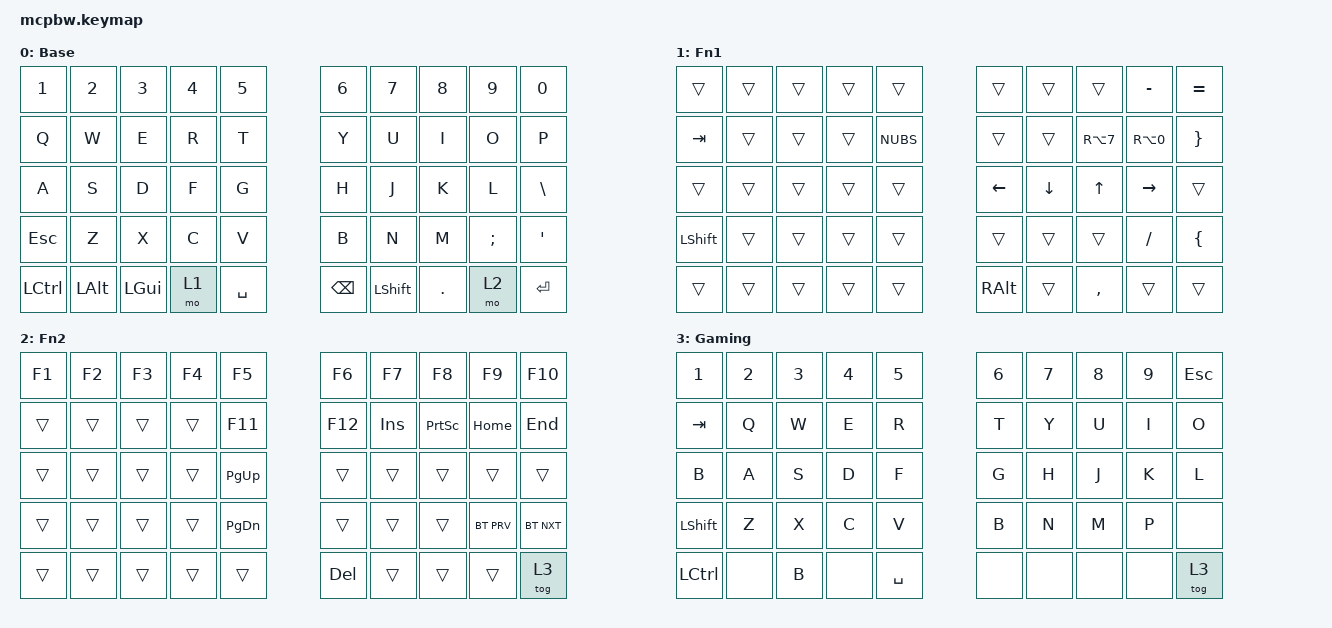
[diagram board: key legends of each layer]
#include <behaviors.dtsi>
#include <dt-bindings/zmk/keys.h>
#include <dt-bindings/zmk/bt.h>

#define DEFAULT 0
#define LOWER 1
#define UPPER 2
#define GAMING 3

/ {
    combos {
      compatible = "zmk,combos";
      combo_btclear {
        timeout-ms = <50>;
        key-positions = <38 39>;
        layers = <2>;
        bindings = <&bt BT_CLR>;
      };
    };

    keymap {
        compatible = "zmk,keymap";

        default_layer {
          display-name = "Base";

          bindings = <
            &kp N1    &kp N2    &kp N3   &kp N4 &kp N5     &kp N6    &kp N7    &kp N8  &kp N9    &kp N0
            &kp Q     &kp W     &kp E    &kp R  &kp T      &kp Y     &kp U     &kp I   &kp O     &kp P
            &kp A     &kp S     &kp D    &kp F  &kp G      &kp H     &kp J     &kp K   &kp L     &kp BSLH
            &kp ESC   &kp Z     &kp X    &kp C  &kp V      &kp B     &kp N     &kp M   &kp SEMI  &kp SQT
            &kp LCTRL &kp LALT  &kp LGUI &mo 1  &kp SPACE  &kp BSPC  &kp LSHFT &kp DOT &mo 2     &kp RET
          >;
        };
    
        lower_layer {
          display-name = "Fn1";

          bindings = <
            &trans    &trans    &trans    &trans    &trans    &trans        &trans        &trans        &kp MINUS     &kp EQL
            &kp TAB   &trans    &trans    &trans    &kp NUBS  &trans        &trans        &kp RA(N7)    &kp RA(N0)    &kp RBRC
            &trans    &trans    &trans    &trans    &trans    &kp LEFT      &kp DOWN      &kp UP        &kp RIGHT     &trans
            &kp LSHFT &trans    &trans    &trans    &trans    &trans        &trans        &trans        &kp SLASH     &kp LBRC
            &trans    &trans    &trans    &trans    &trans    &kp RALT      &trans        &kp COMMA     &trans        &trans
          >;
        };
        upper_layer {
          display-name = "Fn2";

          bindings = <
            &kp F1    &kp F2    &kp F3    &kp F4    &kp F5    &kp F6    &kp F7    &kp F8    &kp F9      &kp F10
            &trans    &trans    &trans    &trans    &kp F11   &kp F12   &kp INS   &kp PSCRN &kp HOME    &kp END
            &trans    &trans    &trans    &trans    &kp PG_UP &trans    &trans    &trans    &trans      &trans
            &trans    &trans    &trans    &trans    &kp PG_DN &trans    &trans    &trans    &bt BT_PRV  &bt BT_NXT
            &trans    &trans    &trans    &trans    &trans    &kp DEL   &trans    &trans    &trans      &tog 3
          >;
        };
        gaming_layer {
          display-name = "Gaming";

          bindings = <
            &kp N1    &kp N2    &kp N3    &kp N4    &kp N5    &kp N6    &kp N7    &kp N8    &kp N9    &kp ESC
            &kp TAB   &kp Q     &kp W     &kp E     &kp R     &kp T     &kp Y     &kp U     &kp I     &kp O
            &kp B     &kp A     &kp S     &kp D     &kp F     &kp G     &kp H     &kp J     &kp K     &kp L
            &kp LSHFT &kp Z     &kp X     &kp C     &kp V     &kp B     &kp N     &kp M     &kp P     &none
            &kp LCTRL &none     &kp B     &none     &kp SPACE &none     &none     &none     &none     &tog 3
          >;
        };
    };
};
